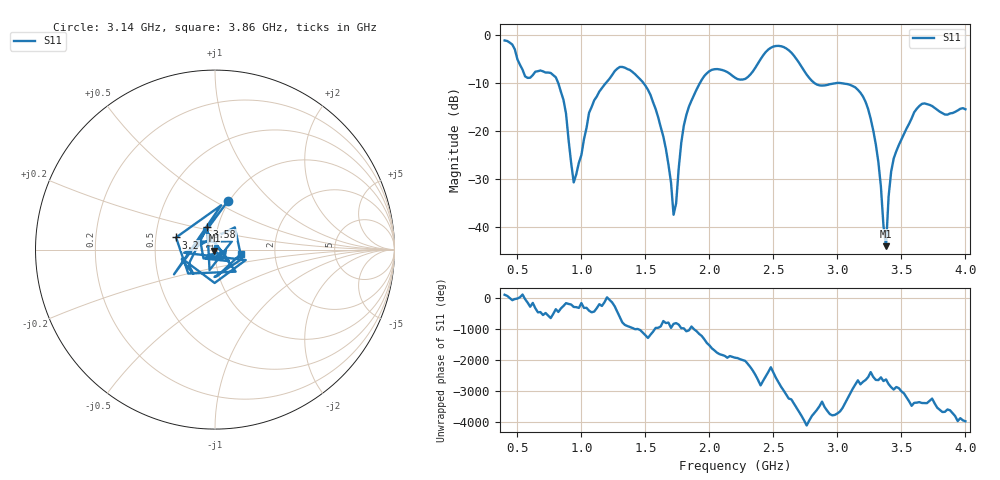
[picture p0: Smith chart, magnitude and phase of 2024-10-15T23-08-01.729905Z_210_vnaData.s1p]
! Created with skrf (http://scikit-rf.org).
# Hz S RI R 50.0
!freq ReS11 ImS11
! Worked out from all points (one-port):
!   181 points, 400 MHz to 4 GHz, reference 50 ohm
!   lowest |S11| = -44.1 dB at 3.38 GHz (marker M1), VSWR 1.01, Z = 49.7 - j0.542 ohm
!   |S11| at or under -10 dB: 818 MHz to 1.193 GHz (375.2 MHz wide, 37.3 % of centre); 1.483 GHz to 1.927 GHz (444.1 MHz wide, 26 % of centre); 2.818 GHz to end of sweep
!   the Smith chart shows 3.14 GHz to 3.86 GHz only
!   S11 on the Smith chart (normalised r, x): 3.14 GHz: 0.99, +0.59; 3.2 GHz: 0.64, +0.09; 3.58 GHz: 0.89, +0.23; 3.86 GHz: 1.34, -0.06
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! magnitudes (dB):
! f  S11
! 400 MHz  -1.2
! 560 MHz  -8.7
! 760 MHz  -8.0
! 860 MHz  -13.6
! 940 MHz  -30.8
! 1.06 GHz  -16.2
! 1.3 GHz  -6.7
! 1.58 GHz  -15.5
! 1.66 GHz  -23.8
! 1.72 GHz  -37.5
! 1.76 GHz  -27.9
! 1.82 GHz  -16.7
! 1.94 GHz  -9.4
! 2.2 GHz  -8.9
! 2.5 GHz  -2.5
! 2.66 GHz  -4.3
! 2.84 GHz  -10.4
! 3.1 GHz  -10.4
! 3.14 GHz  -11.0
! 3.2 GHz  -12.9
! 3.3 GHz  -22.8
! 3.38 GHz  -44.1
! 3.42 GHz  -28.5
! 3.56 GHz  -18.6
! 3.58 GHz  -17.4
! 3.68 GHz  -14.3
! 3.86 GHz  -16.7
! 4 GHz  -15.5
